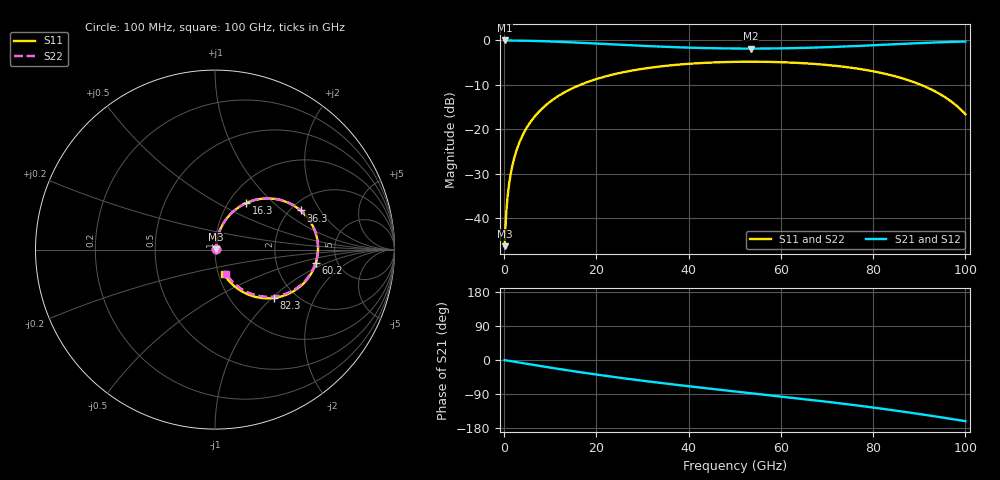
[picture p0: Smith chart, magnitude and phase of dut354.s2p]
! Touchstone file exported from HFSS 2026.1.0
!  File:  C:/ffzhzh/LocalFiles/Ansys_Project_Files/temp_train_RDL_354_1783503269_31944.aedt
!  Generated:  05:35:52 PM Jul  8, 2026
!  Design:  RDL
!  Project:  temp_train_RDL_354_1783503269_31944
! Variables:
!  h_bsmrdl = 2um
!  h_ox = 20um
!  h_rdl = 5um
!  h_sub = 80um
!  h_tmrdl = 2.49um
!  h_tsv = 80um
!  h_via = 3um
!  l_bsmrdl = 300um
!  l_sub = 942.37um
!  l_tmrdl = 542.37um
!  m_sub = 200um
!  pitch = 44.02um
!  r_tsv = 6um
!  s_tmrdl = 10um
!  w_bsmrdl = 18um
!  w_sub = 500um
!  w_tmrdl = 19.3um
!  x_tsv_center1 = 552.02um
!  x_tsv_center2 = 870.02um
!  x_tsv_center3 = 1431.69um
!  x_tsv_center4 = 1749.69um
!  x_tsv_center5 = 2311.36um
!  x_tsv_center6 = 2629.36um
# GHz S MA R 50.000000
! Terminal data exported
! Port[1] = TM_RDL1_1_T1
! Port[2] = TM_RDL1_1_T2
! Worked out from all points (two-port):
!   1000 points, 100 MHz to 100 GHz, reference 50 ohm
!   highest |S21| = -0.04 dB at 100 MHz (marker M1); lowest = -1.9 dB at 53.5 GHz (marker M2)
!   |S21| within 3 dB of the highest: start of sweep to end of sweep
!   lowest |S11| = -46.3 dB at 100 MHz (marker M3), VSWR 1.01, Z = 50.4 + j0.237 ohm
!   |S11| at or under -10 dB: start of sweep to 16.55 GHz; 90.32 GHz to end of sweep
!   |S22| runs from -46.3 to -4.8 dB; largest |S21 - S12| = 1.7e-14
!   S11 on the Smith chart (normalised r, x): 100 MHz: 1.01, +0.00; 16.3 GHz: 1.20, +0.69; 36.3 GHz: 2.26, +1.36; 60.2 GHz: 3.44, -0.75; 82.3 GHz: 1.56, -1.02; 100 GHz: 1.06, -0.30
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0.1  0.004829 29.1  0.9958 -0.2  0.9958 -0.2  0.004829 29.1
! Gamma 0 0 0 0
! Port Impedance 50 0 50 0
0.9  0.02057 73.6  0.9946 -1.9  0.9946 -1.9  0.02057 73.6
1.5  0.03301 77.4  0.994 -3.1  0.994 -3.1  0.03301 77.4
2.6  0.05604 78.7  0.9927 -5.3  0.9927 -5.3  0.05604 78.7
4.1  0.08735 77.5  0.99 -8.4  0.99 -8.4  0.08735 77.6
6.2  0.1304 74.3  0.9846 -12.6  0.9846 -12.6  0.1304 74.4
8.9  0.1835 69.5  0.9751 -18.0  0.9751 -18.0  0.1835 69.6
12.2  0.2442 63.5  0.9605 -24.3  0.9605 -24.3  0.2442 63.6
16.3  0.3123 56.1  0.9394 -31.9  0.9394 -31.9  0.3123 56.3
16.8  0.32 55.2  0.9367 -32.8  0.9367 -32.8  0.32 55.4
24.6  0.4236 42.2  0.8937 -46.1  0.8937 -46.1  0.4236 42.4
33.4  0.5047 28.7  0.8508 -59.8  0.8508 -59.8  0.5046 29.1
36.3  0.5239 24.6  0.8393 -64.0  0.8393 -64.0  0.5239 25.0
50.1  0.5722 5.8  0.808 -83.0  0.808 -83.0  0.5721 6.4
53.5  0.5741 1.4  0.8067 -87.6  0.8067 -87.6  0.574 2.0
60.2  0.5667 -7.5  0.8117 -96.5  0.8117 -96.5  0.5666 -6.7
66.7  0.5448 -16.3  0.8259 -105.5  0.8259 -105.5  0.5447 -15.4
82.3  0.4233 -39.6  0.8908 -129.2  0.8908 -129.2  0.4233 -38.0
83.4  0.4105 -41.3  0.8963 -131.0  0.8963 -131.0  0.4105 -39.8
93  0.2733 -57.7  0.9437 -148.0  0.9437 -148.0  0.2735 -55.1
96.6  0.2107 -64.0  0.9581 -154.8  0.9581 -154.8  0.2111 -60.6
100  0.1472 -69.7  0.9686 -161.4  0.9686 -161.4  0.1479 -64.9
